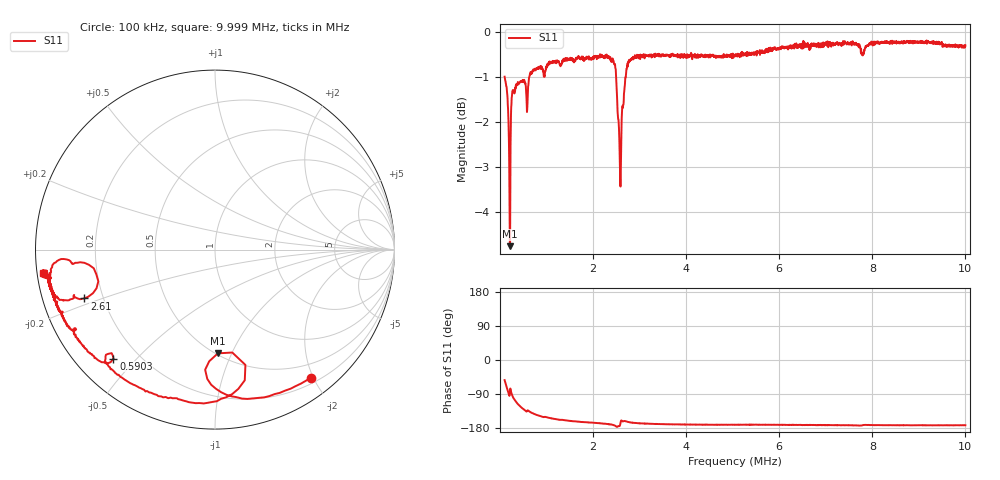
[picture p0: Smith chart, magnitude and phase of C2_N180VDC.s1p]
# HZ S RI R 50
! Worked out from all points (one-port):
!   2020 points, 100 kHz to 9.999 MHz, reference 50 ohm
!   lowest |S11| = -4.8 dB at 212.8 kHz (marker M1), VSWR 3.74, Z = 25.5 - j44.4 ohm
!   |S11| at or under -10 dB: nowhere
!   S11 on the Smith chart (normalised r, x): 100 kHz: 0.28, -1.97; 590.3 kHz: 0.11, -0.43; 2.61 MHz: 0.13, -0.18; 9.999 MHz: 0.02, -0.07
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100000  0.5354 -0.7138
139224  0.3033 -0.816
163739  0.1499 -0.83
212769  0.0158 -0.5781
266702  -0.063 -0.8572
291217  -0.1592 -0.8456
335344  -0.2749 -0.8211
408889  -0.429 -0.7647
511852  -0.568 -0.673
590300  -0.5658 -0.6077
850159  -0.7674 -0.4939
1340459  -0.8621 -0.3496
2232805  -0.9162 -0.1941
2428925  -0.9162 -0.1403
2473052  -0.9137 -0.1069
2531888  -0.8051 -0.0649
2576015  -0.7025 -0.0846
2610336  -0.7275 -0.272
2654463  -0.7866 -0.2698
2737814  -0.8744 -0.2675
2811359  -0.902 -0.242
3816474  -0.9312 -0.1648
5052030  -0.9314 -0.1492
6287586  -0.9512 -0.1468
7528045  -0.965 -0.1316
7802613  -0.9362 -0.1379
8763601  -0.9668 -0.1329
9999157  -0.9579 -0.1301
